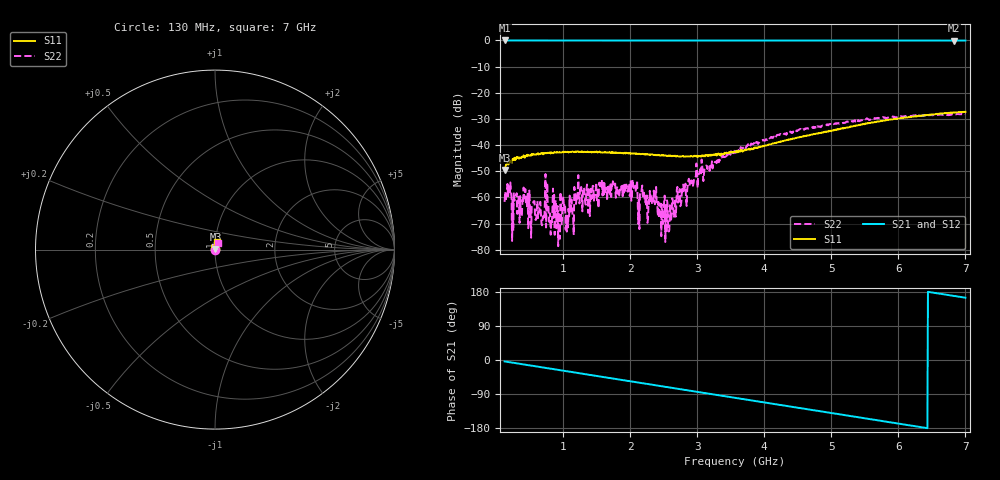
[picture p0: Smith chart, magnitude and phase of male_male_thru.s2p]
# Hz S RI R 50.000000
! Metas.Vna.Tools, 2.8.8664.20301
! Metas.Vna.Data, 2.8.8664.20285
! Created: UTC 2024.02.13 19:51:34
! FREQ  re:S1,1  im:S1,1  re:S2,1  im:S2,1  re:S1,2  im:S1,2  re:S2,2  im:S2,2
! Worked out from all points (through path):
!   801 points, 130 MHz to 7 GHz, reference 50 ohm
!   highest |S21| = -0.01 dB at 130 MHz (marker M1); lowest = -0.1 dB at 6.828 GHz (marker M2)
!   group delay of S21, straight-line fit = 77.6 ps
!   lowest |S11| = -49.5 dB at 130 MHz (marker M3), VSWR 1.01, Z = 50.3 + j0.199 ohm
!   |S11| at or under -10 dB: start of sweep to end of sweep
!   |S22| runs from -78.7 to -28.0 dB; largest |S21 - S12| = 0
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1.3e8  0.0027 0.00198  0.9972 -0.0651  0.9972 -0.0651  -0.000662 0.000487
1.987e8  0.00392 0.00212  0.9938 -0.0984  0.9938 -0.0984  -0.00121 0.000621
3.53275e8  0.0053 0.00216  0.9831 -0.173  0.9831 -0.173  9.58e-05 -0.000312
4.3915e8  0.00583 0.00193  0.9748 -0.214  0.9748 -0.214  -0.00122 0.000775
5.164375e8  0.00611 0.00165  0.966 -0.2504  0.966 -0.2504  -0.000581 0.000236
6.881875e8  0.00695 0.00107  0.9415 -0.3307  0.9415 -0.3307  0.000167 0.000241
7.483e8  0.00693 0.000808  0.9312 -0.358  0.9312 -0.358  -0.000101 -0.000246
9.37225e8  0.00723 0.000265  0.8942 -0.4422  0.8942 -0.4422  -0.000351 0.000377
9.973375e8  0.00745 -8.89e-05  0.8808 -0.468  0.8808 -0.468  0.000696 0.000485
1.074625e9  0.00742 -0.000386  0.8622 -0.5011  0.8622 -0.5011  0.000267 -1.36e-05
1.203438e9  0.00739 -0.000911  0.8289 -0.5541  0.8289 -0.5541  0.00088 -0.000418
1.280725e9  0.00749 -0.00113  0.8076 -0.5851  0.8076 -0.5851  0.00104 2.49e-05
2.070775e9  0.00543 -0.00412  0.5276 -0.8458  0.5276 -0.8458  0.0013 -0.000656
2.1223e9  0.00529 -0.00428  0.5063 -0.8587  0.5063 -0.8587  0.0003 9.05e-05
2.422862e9  0.00388 -0.00518  0.3759 -0.9231  0.3759 -0.9231  0.000699 -0.000425
2.560262e9  0.00305 -0.00534  0.3127 -0.9463  0.3127 -0.9463  -0.000454 -0.000577
3.04975e9  -0.00033 -0.0061  0.0801 -0.9928  0.0801 -0.9928  -0.00234 0.00258
3.565e9  -0.00524 -0.00541  -0.1693 -0.9816  -0.1693 -0.9816  -0.00537 0.00613
4.715725e9  -0.015 0.00495  -0.6649 -0.7407  -0.6649 -0.7407  -0.00994 0.0191
5.857862e9  -0.014 0.027  -0.9555 -0.2774  -0.9555 -0.2774  -0.00517 0.0335
6.82825e9  0.00819 0.041  -0.9763 0.1877  -0.9763 0.1877  0.0116 0.0367
7e9  0.013 0.0413  -0.9575 0.2687  -0.9575 0.2687  0.0167 0.0354
